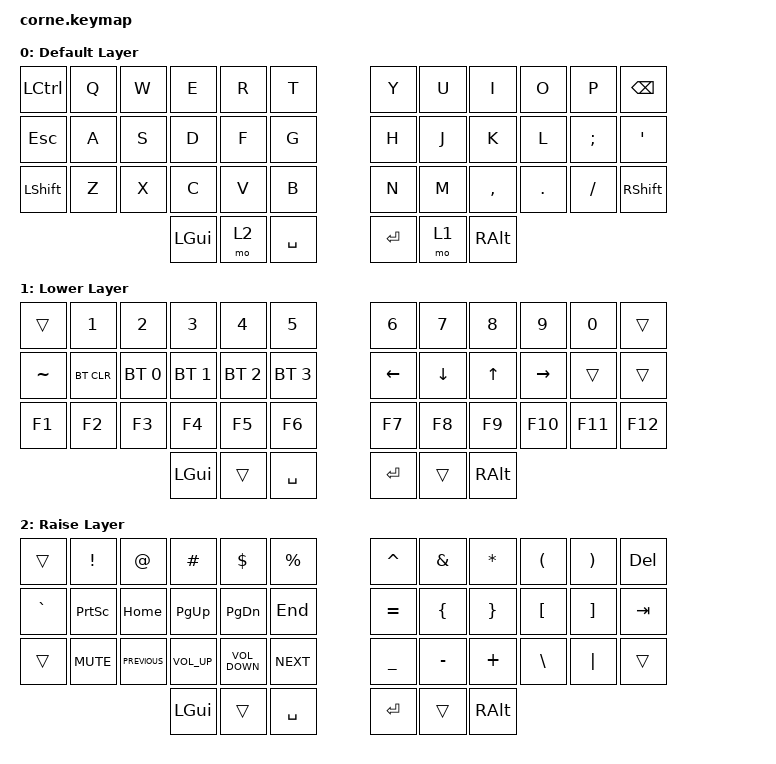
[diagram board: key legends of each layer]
/*
 * Copyright (c) 2020 The ZMK Contributors
 *
 * SPDX-License-Identifier: MIT
 */

#include <behaviors.dtsi>
#include <dt-bindings/zmk/bt.h>
#include <dt-bindings/zmk/keys.h>

/ {
    keymap {
        compatible = "zmk,keymap";

        default_layer {
            display-name = "Default Layer";

            // -----------------------------------------------------------------------------------------
            // |  TAB |  Q  |  W  |  E  |  R  |  T  |   |  Y  |  U   |  I  |  O  |  P  | BSPC |
            // | CTRL |  A  |  S  |  D  |  F  |  G  |   |  H  |  J   |  K  |  L  |  ;  |  '   |
            // | SHFT |  Z  |  X  |  C  |  V  |  B  |   |  N  |  M   |  ,  |  .  |  /  | ESC  |
            //                    | GUI | LWR | SPC |   | ENT | RSE  | ALT |

            bindings = <
&kp LCTRL  &kp Q  &kp W  &kp E     &kp R  &kp T        &kp Y    &kp U  &kp I      &kp O    &kp P     &kp BSPC
&kp ESC    &kp A  &kp S  &kp D     &kp F  &kp G        &kp H    &kp J  &kp K      &kp L    &kp SEMI  &kp SQT
&kp LSHFT  &kp Z  &kp X  &kp C     &kp V  &kp B        &kp N    &kp M  &kp COMMA  &kp DOT  &kp FSLH  &kp RIGHT_SHIFT
                         &kp LGUI  &mo 2  &kp SPACE    &kp RET  &mo 1  &kp RALT
            >;
        };

        lower_layer {
            display-name = "Lower Layer";

            // -----------------------------------------------------------------------------------------
            // |  TAB |  1  |  2  |  3  |  4  |  5  |   |  6  |  7  |  8  |  9  |  0  | BSPC |
            // | BTCLR| BT1 | BT2 | BT3 | BT4 | BT5 |   | LFT | DWN |  UP | RGT |     |      |
            // | SHFT |     |     |     |     |     |   |     |     |     |     |     |      |
            //                    | GUI |     | SPC |   | ENT |     | ALT |

            bindings = <
&trans     &kp N1      &kp N2        &kp N3        &kp N4        &kp N5          &kp N6    &kp N7    &kp N8    &kp N9     &kp N0   &trans
&kp TILDE  &bt BT_CLR  &bt BT_SEL 0  &bt BT_SEL 1  &bt BT_SEL 2  &bt BT_SEL 3    &kp LEFT  &kp DOWN  &kp UP    &kp RIGHT  &trans   &trans
&kp F1     &kp F2      &kp F3        &kp F4        &kp F5        &kp F6          &kp F7    &kp F8    &kp F9    &kp F10    &kp F11  &kp F12
                                     &kp LGUI      &trans        &kp SPACE       &kp RET   &trans    &kp RALT
            >;
        };

        raise_layer {
            display-name = "Raise Layer";

            // -----------------------------------------------------------------------------------------
            // |  TAB |  !  |  @  |  #  |  $  |  %  |   |  ^  |  &  |  *  |  (  |  )  | BSPC |
            // | CTRL |     |     |     |     |     |   |  -  |  =  |  [  |  ]  |  \  |  `   |
            // | SHFT |     |     |     |     |     |   |  _  |  +  |  {  |  }  | "|" |  ~   |
            //                    | GUI |     | SPC |   | ENT |     | ALT |

            bindings = <
&trans     &kp EXCL         &kp AT          &kp HASH         &kp DLLR           &kp PRCNT     &kp CARET  &kp AMPS        &kp ASTRK        &kp LPAR          &kp RPAR           &kp DEL
&kp GRAVE  &kp PRINTSCREEN  &kp HOME        &kp PAGE_UP      &kp PAGE_DOWN      &kp END       &kp EQUAL  &kp LEFT_BRACE  &kp RIGHT_BRACE  &kp LEFT_BRACKET  &kp RIGHT_BRACKET  &kp TAB
&trans     &kp C_MUTE       &kp C_PREVIOUS  &kp C_VOLUME_UP  &kp C_VOLUME_DOWN  &kp C_NEXT    &kp UNDER  &kp MINUS       &kp PLUS         &kp BACKSLASH     &kp PIPE           &trans
                                            &kp LGUI         &trans             &kp SPACE     &kp RET    &trans          &kp RALT
            >;
        };
    };
};
